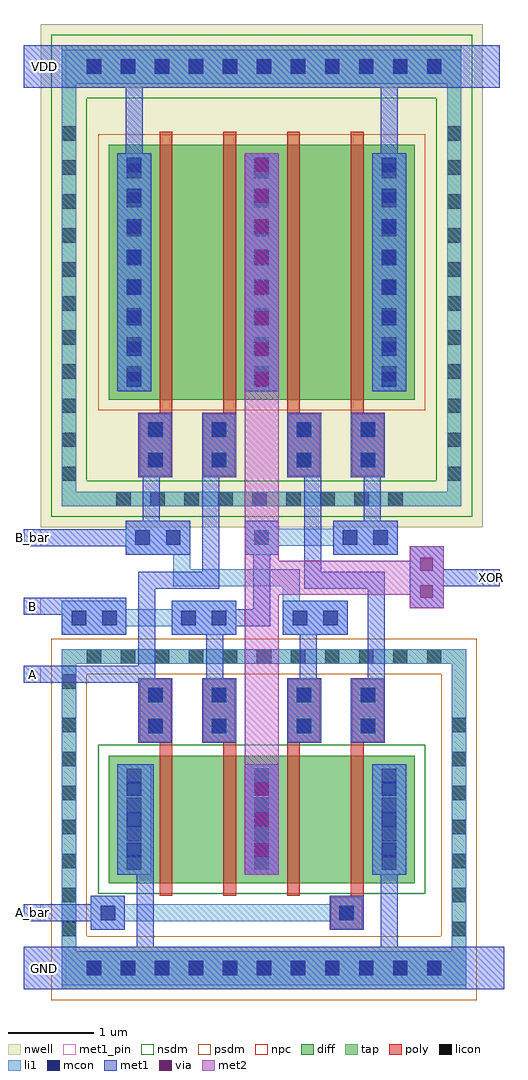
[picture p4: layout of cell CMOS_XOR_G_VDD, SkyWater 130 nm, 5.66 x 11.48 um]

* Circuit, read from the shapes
.subckt CMOS_XOR_G_VDD A A_bar B B_bar GND VDD XOR
XM1 n1 A GND GND sky130_fd_pr__nfet_01v8 w=1.5 l=0.15
XM2 XOR B n1 GND sky130_fd_pr__nfet_01v8 w=1.5 l=0.15
XM3 n2 B_bar XOR GND sky130_fd_pr__nfet_01v8 w=1.5 l=0.15
XM4 GND A_bar n2 GND sky130_fd_pr__nfet_01v8 w=1.5 l=0.15
XM5 n3 B_bar VDD VDD sky130_fd_pr__pfet_01v8 w=3 l=0.15
XM6 XOR A n3 VDD sky130_fd_pr__pfet_01v8 w=3 l=0.15
XM7 n4 A_bar XOR VDD sky130_fd_pr__pfet_01v8 w=3 l=0.15
XM8 VDD B n4 VDD sky130_fd_pr__pfet_01v8 w=3 l=0.15
.ends

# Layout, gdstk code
import gdstk
lib = gdstk.Library(unit=1e-6, precision=1e-09)
def R(c, l, rs):  # rectangles x0, y0, x1, y1
    for r in rs: c.add(gdstk.rectangle(r[:2], r[2:], *l))
def A(c, l, x, y, w, h, nx, ny, dx, dy):  # array of equal rectangles
    R(c, l, [(x+i*dx, y+j*dy, x+i*dx+w, y+j*dy+h) for i in range(nx) for j in range(ny)])
nwell = (64, 20)
diff = (65, 20)
tap = (65, 44)
poly = (66, 20)
licon = (66, 44)
li1 = (67, 20)
mcon = (67, 44)
met1_pin = (68, 16)
met1 = (68, 20)
via = (68, 44)
met2 = (69, 20)
nsdm = (93, 44)
psdm = (94, 20)
npc = (95, 20)

cmos_xor_g_vdd = lib.new_cell('CMOS_XOR_G_VDD')
R(cmos_xor_g_vdd, nwell, [(0.2,5.56,5.4,11.48)])
R(cmos_xor_g_vdd, diff, [(1,1.375,4.6,2.875), (1,7.06,4.6,10.06)])
R(cmos_xor_g_vdd, tap, [(0.45,0.125,5.205,0.625), (0.45,0.625,0.62,3.955), (5.035,0.625,5.205,3.955), (0.45,3.955,5.205,4.125), (0.45,5.81,5.15,5.98), (0.45,5.98,0.62,10.73), (4.98,5.98,5.15,10.73), (0.45,10.73,5.15,11.23)])
A(cmos_xor_g_vdd, poly, 1.6, 1.225, 0.15, 1.8, 4, 1, 0.75, 0)
A(cmos_xor_g_vdd, poly, 1.6, 6.91, 0.15, 3.3, 4, 1, 0.75, 0)
R(cmos_xor_g_vdd, poly, [(3.6,0.825,4,1.225), (1.35,3.025,1.75,3.785), (2.1,3.025,2.5,3.785), (3.1,3.025,3.5,3.785), (3.85,3.025,4.25,3.785), (1.35,6.15,1.75,6.91), (2.1,6.15,2.5,6.91), (3.1,6.15,3.5,6.91), (3.85,6.15,4.25,6.91)])
A(cmos_xor_g_vdd, licon, 0.745, 0.29, 0.17, 0.17, 11, 2, 0.4, 3.665)
A(cmos_xor_g_vdd, licon, 0.45, 0.75, 0.17, 0.17, 1, 7, 0, 0.4)
A(cmos_xor_g_vdd, licon, 5.035, 0.75, 0.17, 0.17, 1, 7, 0, 0.4)
A(cmos_xor_g_vdd, licon, 1.215, 1.53, 0.17, 0.17, 3, 4, 1.5, 0.34)
A(cmos_xor_g_vdd, licon, 1.09, 5.81, 0.17, 0.17, 9, 1, 0.4, 0)
A(cmos_xor_g_vdd, licon, 0.45, 6.105, 0.17, 0.17, 1, 11, 0, 0.4)
A(cmos_xor_g_vdd, licon, 4.98, 6.105, 0.17, 0.17, 1, 11, 0, 0.4)
A(cmos_xor_g_vdd, licon, 1.215, 7.285, 0.17, 0.17, 3, 8, 1.5, 0.34)
A(cmos_xor_g_vdd, licon, 0.745, 10.895, 0.17, 0.17, 11, 1, 0.4, 0)
R(cmos_xor_g_vdd, licon, [(3.715,0.94,3.885,1.11), (1.465,3.14,1.635,3.31), (2.215,3.14,2.385,3.31), (3.215,3.14,3.385,3.31), (3.965,3.14,4.135,3.31), (1.465,3.5,1.635,3.67), (2.215,3.5,2.385,3.67), (3.215,3.5,3.385,3.67), (3.965,3.5,4.135,3.67), (0.45,3.66,0.62,3.83), (1.465,6.265,1.635,6.435), (2.215,6.265,2.385,6.435), (3.215,6.265,3.385,6.435), (3.965,6.265,4.135,6.435), (1.465,6.625,1.635,6.795), (2.215,6.625,2.385,6.795), (3.215,6.625,3.385,6.795), (3.965,6.625,4.135,6.795)])
A(cmos_xor_g_vdd, li1, 1.1, 1.475, 0.4, 1.3, 3, 1, 1.5, 0)
A(cmos_xor_g_vdd, li1, 1.1, 7.16, 0.4, 2.8, 3, 1, 1.5, 0)
R(cmos_xor_g_vdd, li1, [(0.45,0.175,5.205,0.575), (0.45,0.575,0.62,3.955), (5.035,0.575,5.205,3.955), (0.79,0.825,1.19,0.925), (3.6,0.825,4,0.925), (0.79,0.925,4,1.125), (0.79,1.125,1.19,1.225), (3.6,1.125,4,1.225), (1.35,3.025,1.75,3.785), (2.1,3.025,2.5,3.785), (3.1,3.025,3.5,3.785), (3.85,3.025,4.25,3.785), (0.45,3.955,5.205,4.125), (0.45,4.295,1.21,4.395), (1.74,4.295,2.5,4.395), (3.05,4.295,3.81,4.695), (0.45,4.395,2.5,4.595), (0.45,4.595,1.21,4.695), (1.74,4.595,2.5,4.695), (3.05,4.695,3.25,4.865), (1.76,4.865,3.25,5.065), (1.76,5.065,1.96,5.24), (1.2,5.24,1.96,5.64), (2.6,5.24,3,5.345), (3.64,5.24,4.4,5.345), (2.6,5.345,4.4,5.545), (2.6,5.545,3,5.64), (3.64,5.545,4.4,5.64), (0.45,5.81,5.15,5.98), (0.45,5.98,0.62,10.78), (4.98,5.98,5.15,10.78), (1.35,6.15,1.75,6.91), (2.1,6.15,2.5,6.91), (3.1,6.15,3.5,6.91), (3.85,6.15,4.25,6.91), (0.45,10.78,5.15,11.18)])
A(cmos_xor_g_vdd, mcon, 0.745, 0.29, 0.17, 0.17, 11, 2, 0.4, 10.605)
A(cmos_xor_g_vdd, mcon, 1.215, 1.68, 0.17, 0.17, 3, 3, 1.5, 0.36)
A(cmos_xor_g_vdd, mcon, 1.675, 5.355, 0.17, 0.17, 3, 1, 1.04, 0)
A(cmos_xor_g_vdd, mcon, 1.215, 7.215, 0.17, 0.17, 3, 8, 1.5, 0.36)
R(cmos_xor_g_vdd, mcon, [(0.905,0.94,1.075,1.11), (3.715,0.94,3.885,1.11), (1.465,3.14,1.635,3.31), (2.215,3.14,2.385,3.31), (3.215,3.14,3.385,3.31), (3.965,3.14,4.135,3.31), (1.465,3.5,1.635,3.67), (2.215,3.5,2.385,3.67), (3.215,3.5,3.385,3.67), (3.965,3.5,4.135,3.67), (0.565,4.41,0.735,4.58), (0.925,4.41,1.095,4.58), (1.855,4.41,2.025,4.58), (2.215,4.41,2.385,4.58), (3.165,4.41,3.335,4.58), (3.525,4.41,3.695,4.58), (1.315,5.355,1.485,5.525), (4.115,5.355,4.285,5.525), (1.465,6.265,1.635,6.435), (2.215,6.265,2.385,6.435), (3.215,6.265,3.385,6.435), (3.965,6.265,4.135,6.435), (1.465,6.625,1.635,6.795), (2.215,6.625,2.385,6.795), (3.215,6.625,3.385,6.795), (3.965,6.625,4.135,6.795)])
R(cmos_xor_g_vdd, met1_pin, [(0,0.125,0.5,0.625), (0,0.925,0.2,1.125), (0,3.73,0.2,3.93), (0,4.53,0.2,4.73), (5.4,4.865,5.6,5.065), (0,5.34,0.2,5.54), (0,10.73,0.5,11.23)])
A(cmos_xor_g_vdd, met1, 1.1, 7.16, 0.4, 2.8, 3, 1, 1.5, 0)
R(cmos_xor_g_vdd, met1, [(0,0.125,5.655,0.625), (1.33,0.625,1.53,1.475), (4.2,0.625,4.4,1.475), (0.79,0.825,1.19,0.925), (3.6,0.825,4,1.225), (0,0.925,1.19,1.125), (0.79,1.125,1.19,1.225), (1.1,1.475,1.53,2.775), (2.6,1.475,3,2.775), (4.1,1.475,4.5,2.775), (1.35,3.025,1.75,3.73), (2.1,3.025,2.5,3.785), (3.1,3.025,3.5,3.785), (3.85,3.025,4.25,3.785), (0,3.73,1.75,3.785), (0,3.785,1.55,3.93), (2.15,3.785,2.35,4.295), (3.25,3.785,3.45,4.295), (4.05,3.785,4.25,4.835), (1.35,3.93,1.55,4.835), (0.45,4.295,1.21,4.53), (1.74,4.295,2.5,4.395), (3.05,4.295,3.81,4.695), (1.74,4.395,2.9,4.595), (0,4.53,1.21,4.73), (1.74,4.595,2.5,4.695), (2.7,4.595,2.9,5.24), (4.54,4.605,4.94,4.865), (1.35,4.835,2.3,5.035), (3.3,4.835,4.25,5.035), (4.54,4.865,5.6,5.065), (2.1,5.035,2.3,6.15), (3.3,5.035,3.5,6.15), (4.54,5.065,4.94,5.335), (1.2,5.24,1.96,5.34), (2.6,5.24,3,5.64), (3.64,5.24,4.4,5.64), (0,5.34,1.96,5.54), (1.2,5.54,1.96,5.64), (1.4,5.64,1.6,6.15), (4,5.64,4.2,6.15), (1.35,6.15,1.75,6.91), (2.1,6.15,2.5,6.91), (3.1,6.15,3.5,6.91), (3.85,6.15,4.25,6.91), (1.2,9.96,1.4,10.73), (4.2,9.96,4.4,10.73), (0,10.73,5.6,11.23)])
A(cmos_xor_g_vdd, via, 2.725, 1.69, 0.15, 0.15, 1, 3, 0, 0.36)
A(cmos_xor_g_vdd, via, 2.725, 7.225, 0.15, 0.15, 1, 8, 0, 0.36)
R(cmos_xor_g_vdd, via, [(4.665,4.73,4.815,4.88), (4.665,5.05,4.815,5.2)])
R(cmos_xor_g_vdd, met2, [(2.6,1.475,3,4.765), (4.54,4.605,4.94,4.765), (2.6,4.765,4.94,5.165), (2.6,5.165,3,9.96), (4.54,5.165,4.94,5.335)])
R(cmos_xor_g_vdd, nsdm, [(0.875,1.25,4.725,3), (0.325,5.685,5.275,6.105), (0.325,6.105,0.745,10.605), (4.855,6.105,5.275,10.605), (0.325,10.605,5.275,11.355)])
R(cmos_xor_g_vdd, psdm, [(0.325,0,5.33,0.75), (0.325,0.75,0.745,3.83), (4.91,0.75,5.33,3.83), (0.325,3.83,5.33,4.25), (0.875,6.935,4.725,10.185)])
R(cmos_xor_g_vdd, npc, [(3.615,0.84,3.985,1.21), (1.365,3.04,1.735,3.77), (2.115,3.04,2.485,3.77), (3.115,3.04,3.485,3.77), (3.865,3.04,4.235,3.77), (1.365,6.165,1.735,6.895), (2.115,6.165,2.485,6.895), (3.115,6.165,3.485,6.895), (3.865,6.165,4.235,6.895)])
cmos_xor_g_vdd.add(gdstk.Label('XOR', (5.5,4.965), layer=68, texttype=5))
cmos_xor_g_vdd.add(gdstk.Label('B_bar', (0.1,5.44), layer=68, texttype=5))
cmos_xor_g_vdd.add(gdstk.Label('B', (0.1,4.63), layer=68, texttype=5))
cmos_xor_g_vdd.add(gdstk.Label('A', (0.1,3.83), layer=68, texttype=5))
cmos_xor_g_vdd.add(gdstk.Label('A_bar', (0.1,1.025), layer=68, texttype=5))
cmos_xor_g_vdd.add(gdstk.Label('VDD', (0.25,10.98), layer=68, texttype=5))
cmos_xor_g_vdd.add(gdstk.Label('GND', (0.25,0.375), layer=68, texttype=5))

lib.write_gds('CMOS_XOR_G_VDD.gds')
